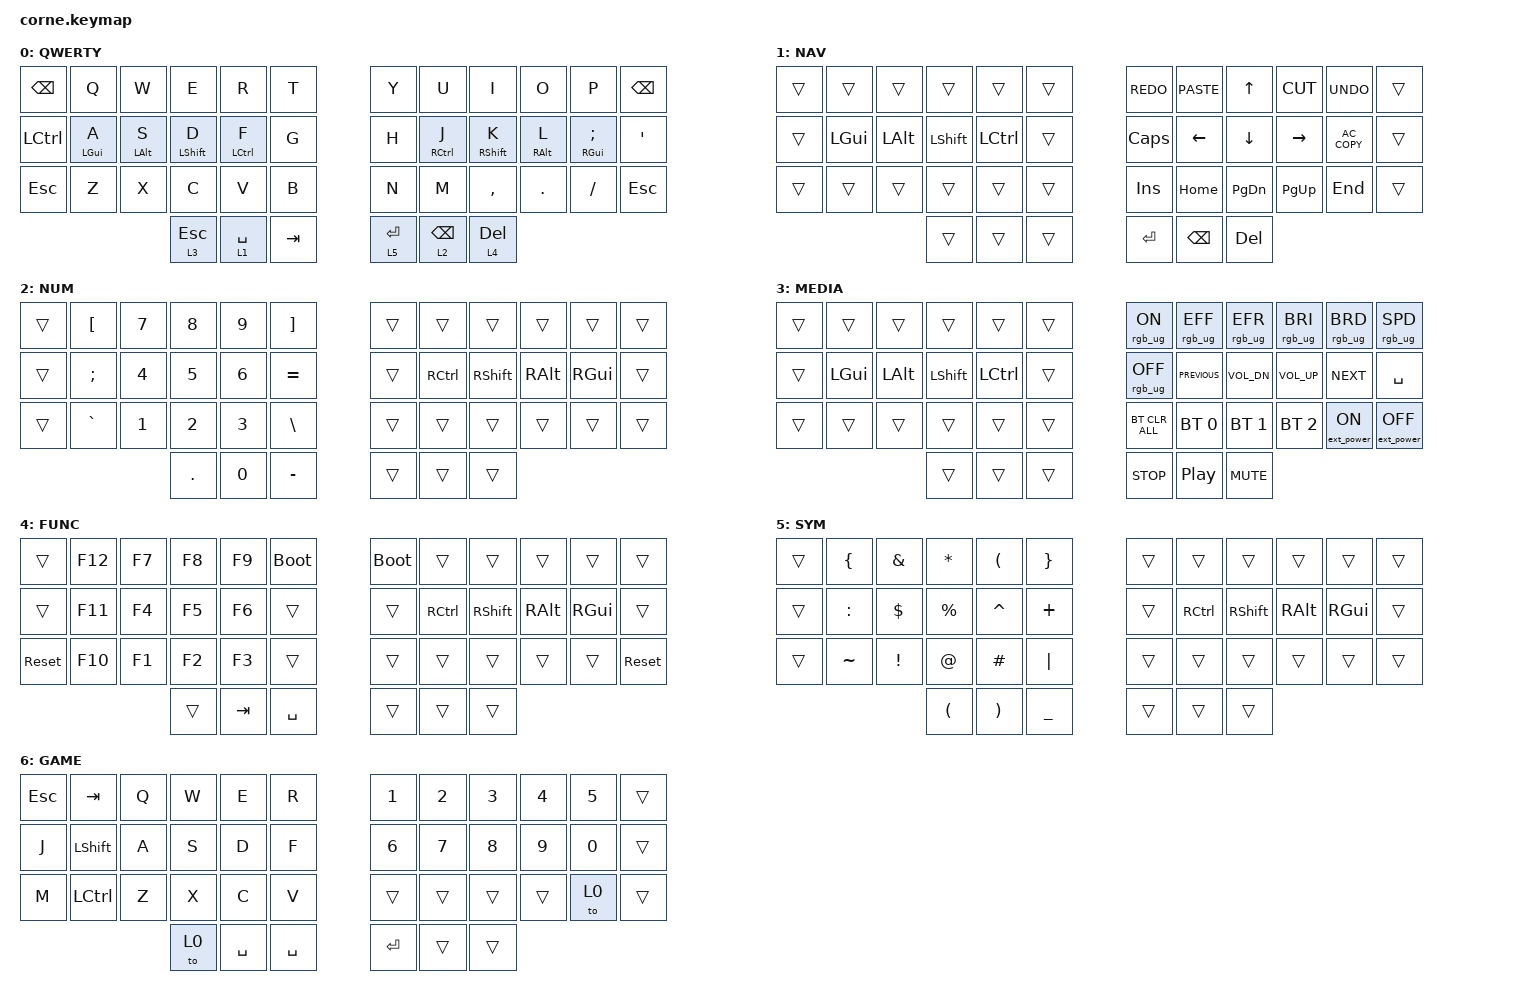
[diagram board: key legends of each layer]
/*
 * Copyright (c) 2020 The ZMK Contributors
 *
 * SPDX-License-Identifier: MIT
 */

#include <behaviors.dtsi>
#include <dt-bindings/zmk/bt.h>
#include <dt-bindings/zmk/ext_power.h>
#include <dt-bindings/zmk/keys.h>
#include <dt-bindings/zmk/rgb.h>
#include <dt-bindings/zmk/outputs.h>

/ {
    behaviors {
        td0: td0 {
            compatible = "zmk,behavior-tap-dance";
            label = "TD0";
            #binding-cells = <0>;
            bindings = <&kp LEFT_SHIFT>, <&kp CAPS>;
        };

        hmr: hmr {
            compatible = "zmk,behavior-hold-tap";
            label = "HMR";
            bindings = <&kp>, <&kp>;

            #binding-cells = <2>;
            tapping-term-ms = <280>;
            quick-tap-ms = <175>;
            flavor = "balanced";
            hold-trigger-key-positions = <0 1 4 5 12 13 14 15 16 17 24 25 26 27 28 29 36 37 38 2 3 39 41 40>;
        };

        hml: hml {
            compatible = "zmk,behavior-hold-tap";
            label = "HML";
            bindings = <&kp>, <&kp>;

            #binding-cells = <2>;
            tapping-term-ms = <280>;
            quick-tap-ms = <175>;
            flavor = "balanced";
            hold-trigger-key-positions = <6 7 8 9 10 11 18 19 20 21 22 23 30 31 32 33 34 35 39 40 41 38 37 36>;
        };
    };

    keymap {
        compatible = "zmk,keymap";

        default_layer {
            display-name = "QWERTY";

            // --------------------------------------------------------------------------------
            // |  TAB |  Q  |  W  |  E  |  R  |  T  |   |  Y  |  U   |  I  |  O  |  P  | BKSP |
            // | CTRL |  A  |  S  |  D  |  F  |  G  |   |  H  |  J   |  K  |  L  |  ;  |  '   | 
            // | SHFT |  Z  |  X  |  C  |  V  |  B  |   |  N  |  M   |  ,  |  .  |  /  | ESC  |
            //                    | GUI | LWR | SPC |   | ENT | RSE  | ALT |

            bindings = <
&kp BACKSPACE  &kp Q        &kp W        &kp E         &kp R         &kp T      &kp Y        &kp U            &kp I         &kp O        &kp P           &kp BSPC
&kp LCTRL      &hml LGUI A  &hml LALT S  &hml LSHFT D  &hml LCTRL F  &kp G      &kp H        &hmr RCTRL J     &hmr RSHFT K  &hmr RALT L  &hmr RGUI SEMI  &kp SQT
&kp ESC        &kp Z        &kp X        &kp C         &kp V         &kp B      &kp N        &kp M            &kp COMMA     &kp DOT      &kp FSLH        &kp ESC
                                         &lt 3 ESC     &lt 1 SPACE   &kp TAB    &lt 5 ENTER  &lt 2 BACKSPACE  &lt 4 DEL
            >;
        };

        Nav {

            display-name = "NAV";
            bindings = <
&trans  &trans    &trans    &trans     &trans     &trans    &kp K_REDO  &kp K_PASTE     &kp UP_ARROW    &kp K_CUT        &kp K_UNDO     &trans
&trans  &kp LGUI  &kp LALT  &kp LSHFT  &kp LCTRL  &trans    &kp CAPS    &kp LEFT_ARROW  &kp DOWN_ARROW  &kp RIGHT_ARROW  &kp C_AC_COPY  &trans
&trans  &trans    &trans    &trans     &trans     &trans    &kp INS     &kp HOME        &kp PAGE_DOWN   &kp PAGE_UP      &kp END        &trans
                            &trans     &trans     &trans    &kp ENTER   &kp BACKSPACE   &kp DELETE
            >;
        };

        Num {

            display-name = "NUM";
            bindings = <
&trans  &kp LEFT_BRACKET  &kp NUMBER_7  &kp NUMBER_8  &kp NUMBER_9  &kp RIGHT_BRACKET    &trans  &trans     &trans     &trans    &trans    &trans
&trans  &kp SEMICOLON     &kp NUMBER_4  &kp NUMBER_5  &kp NUMBER_6  &kp EQUAL            &trans  &kp RCTRL  &kp RSHFT  &kp RALT  &kp RGUI  &trans
&trans  &kp GRAVE         &kp NUMBER_1  &kp NUMBER_2  &kp NUMBER_3  &kp BACKSLASH        &trans  &trans     &trans     &trans    &trans    &trans
                                        &kp PERIOD    &kp NUMBER_0  &kp MINUS            &trans  &trans     &trans
            >;
        };

        Media {

            display-name = "MEDIA";
            bindings = <
&trans  &trans    &trans    &trans     &trans     &trans    &rgb_ug RGB_ON   &rgb_ug RGB_EFF   &rgb_ug RGB_EFR  &rgb_ug RGB_BRI  &rgb_ug RGB_BRD   &rgb_ug RGB_SPD
&trans  &kp LGUI  &kp LALT  &kp LSHFT  &kp LCTRL  &trans    &rgb_ug RGB_OFF  &kp C_PREVIOUS    &kp C_VOL_DN     &kp C_VOLUME_UP  &kp C_NEXT        &kp SPACE
&trans  &trans    &trans    &trans     &trans     &trans    &bt BT_CLR_ALL   &bt BT_SEL 0      &bt BT_SEL 1     &bt BT_SEL 2     &ext_power EP_ON  &ext_power EP_OFF
                            &trans     &trans     &trans    &kp C_STOP       &kp C_PLAY_PAUSE  &kp C_MUTE
            >;
        };

        Func {

            display-name = "FUNC";
            bindings = <
&trans      &kp F12  &kp F7  &kp F8  &kp F9   &bootloader    &bootloader  &trans     &trans     &trans    &trans    &trans
&trans      &kp F11  &kp F4  &kp F5  &kp F6   &trans         &trans       &kp RCTRL  &kp RSHFT  &kp RALT  &kp RGUI  &trans
&sys_reset  &kp F10  &kp F1  &kp F2  &kp F3   &trans         &trans       &trans     &trans     &trans    &trans    &sys_reset
                             &trans  &kp TAB  &kp SPACE      &trans       &trans     &trans
            >;
        };

        Sym {

            display-name = "SYM";
            bindings = <
&trans  &kp LEFT_BRACE  &kp AMPERSAND    &kp ASTERISK          &kp LEFT_PARENTHESIS   &kp RIGHT_BRACE    &trans  &trans     &trans     &trans    &trans    &trans
&trans  &kp COLON       &kp DOLLAR       &kp PERCENT           &kp CARET              &kp PLUS           &trans  &kp RCTRL  &kp RSHFT  &kp RALT  &kp RGUI  &trans
&trans  &kp TILDE       &kp EXCLAMATION  &kp AT_SIGN           &kp POUND              &kp PIPE           &trans  &trans     &trans     &trans    &trans    &trans
                                         &kp LEFT_PARENTHESIS  &kp RIGHT_PARENTHESIS  &kp UNDERSCORE     &trans  &trans     &trans
            >;
        };

        Gaming {

            display-name = "GAME";
            bindings = <
&kp ESCAPE  &kp TAB         &kp Q  &kp W  &kp E      &kp R        &kp NUMBER_1  &kp NUMBER_2  &kp NUMBER_3  &kp NUMBER_4  &kp NUMBER_5  &trans
&kp J       &kp LEFT_SHIFT  &kp A  &kp S  &kp D      &kp F        &kp NUMBER_6  &kp NUMBER_7  &kp NUMBER_8  &kp NUMBER_9  &kp N0        &trans
&kp M       &kp LCTRL       &kp Z  &kp X  &kp C      &kp V        &trans        &trans        &trans        &trans        &to 0         &trans
                                   &to 0  &kp SPACE  &kp SPACE    &kp ENTER     &trans        &trans
            >;
        };
    };
};
